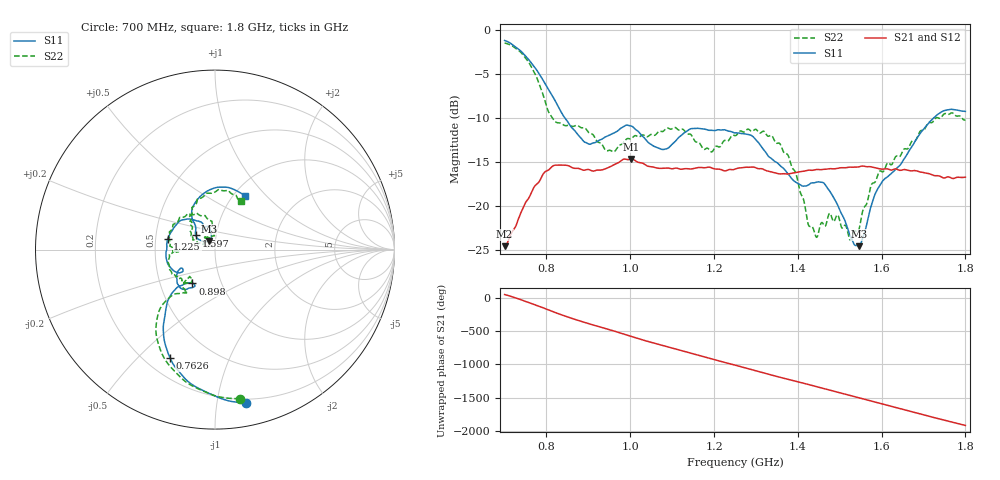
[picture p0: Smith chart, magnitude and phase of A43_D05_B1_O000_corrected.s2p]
! Created with skrf 1.9.0 (http://scikit-rf.org).
# Hz S RI R 50.0
!freq ReS11 ImS11 ReS21 ImS21 ReS12 ImS12 ReS22 ImS22
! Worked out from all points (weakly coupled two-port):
!   1601 points, 700 MHz to 1.8 GHz, reference 50 ohm
!   highest |S21| = -14.66 dB at 1.002 GHz (marker M1); lowest = -24.6 dB at 700 MHz (marker M2)
!   lowest |S11| = -24.6 dB at 1.546 GHz (marker M3), VSWR 1.13, Z = 46.5 + j4.54 ohm
!   |S11| at or under -10 dB: 843.7 MHz to 1.724 GHz (880.7 MHz wide, 68.6 % of centre)
!   |S22| runs from -23.9 to -1.5 dB; largest |S21 - S12| = 0.0034
!   S11 on the Smith chart (normalised r, x): 700 MHz: 0.17, -1.21; 762.6 MHz: 0.30, -0.63; 898 MHz: 0.73, -0.29; 1.225 GHz: 0.58, +0.08; 1.597 GHz: 0.80, +0.13; 1.8 GHz: 1.12, +0.77
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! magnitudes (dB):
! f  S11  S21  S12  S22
! 700 MHz  -1.2  -24.6  -24.3  -1.5
! 762.6 MHz  -3.7  -18.6  -18.6  -4.1
! 817.6 MHz  -7.8  -15.4  -15.5  -10.2
! 883.6 MHz  -12.4  -15.9  -15.8  -11.1
! 898 MHz  -12.9  -15.9  -15.9  -11.5
! 945.4 MHz  -12.1  -15.7  -15.7  -13.7
! 1.002 GHz  -10.9  -14.7  -14.8  -12.4
! 1.067 GHz  -13.4  -15.7  -15.7  -11.6
! 1.193 GHz  -11.4  -15.6  -15.6  -13.9
! 1.225 GHz  -11.3  -16.0  -16.0  -12.6
! 1.25 GHz  -11.7  -15.8  -15.7  -12.0
! 1.357 GHz  -15.4  -16.4  -16.3  -12.9
! 1.394 GHz  -17.3  -16.2  -16.2  -16.2
! 1.434 GHz  -17.4  -16.0  -15.9  -22.3
! 1.467 GHz  -17.7  -15.8  -15.8  -22.2
! 1.495 GHz  -19.9  -15.7  -15.7  -21.0
! 1.526 GHz  -23.4  -15.6  -15.6  -23.9
! 1.546 GHz  -24.6  -15.6  -15.5  -22.6
! 1.597 GHz  -17.5  -15.8  -15.8  -16.0
! 1.617 GHz  -16.6  -15.8  -15.8  -15.1
! 1.731 GHz  -9.7  -16.6  -16.5  -10.0
! 1.8 GHz  -9.3  -16.7  -16.7  -10.2
